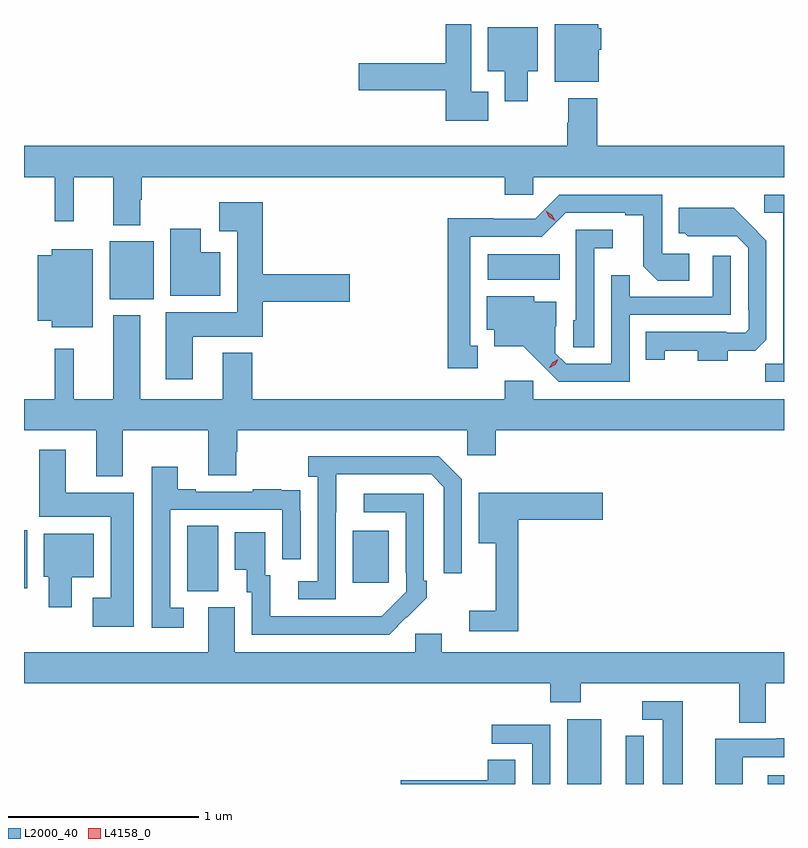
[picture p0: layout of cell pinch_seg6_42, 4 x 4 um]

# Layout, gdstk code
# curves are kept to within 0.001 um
import gdstk
lib = gdstk.Library(unit=1e-6, precision=1e-09)
def R(c, l, rs):  # rectangles x0, y0, x1, y1
    for r in rs: c.add(gdstk.rectangle(r[:2], r[2:], *l))
def P(c, l, *ps):  # polygons
    for p in ps: c.add(gdstk.Polygon(p, *l))
L2000_40 = (2000, 40)
L4158_0 = (4158, 0)

pinch_seg6_42 = lib.new_cell('pinch_seg6_42')
R(pinch_seg6_42, L2000_40, [(888.155,989.43,888.334,989.77), (889.211,989.43,889.296,989.476), (886.154,990.445,886.318,990.788), (885.296,990.461,885.313,990.766), (887.027,990.489,887.215,990.763), (885.746,991.982,885.979,992.287), (887.736,992.084,888.116,992.218)])
P(pinch_seg6_42, L2000_40, [(888.322,993.294),(888.334,993.294),(888.334,993.408),(888.318,993.408),(888.318,993.43),(888.089,993.43),(888.089,993.125),(888.322,993.125)],
  [(887.74,993.073),(887.65,993.073),(887.65,993.43),(887.516,993.43),(887.516,993.224),(887.058,993.224),(887.058,993.082),(887.516,993.082),(887.516,992.921),(887.74,992.921)],
  [(887.947,993.182),(888.001,993.182),(888.001,993.412),(887.738,993.412),(887.738,993.182),(887.825,993.182),(887.825,993.024),(887.947,993.024)],
  [(885.907,992.504),(885.915,992.504),(885.915,992.624),(887.825,992.624),(887.825,992.531),(887.976,992.531),(887.976,992.624),(889.296,992.624),(889.296,992.788),(888.314,992.788),(888.314,993.04),(888.161,993.04),(888.161,992.909),(888.154,992.909),(888.154,992.788),(885.296,992.788),(885.296,992.624),(885.458,992.624),(885.458,992.391),(885.557,992.391),(885.557,992.624),(885.767,992.624),(885.767,992.372),(885.907,992.372)],
  [(887.683,991.737),(887.644,991.737),(887.644,992.31),(888.021,992.31),(888.147,992.436),(888.461,992.436),(888.461,992.424),(888.555,992.424),(888.555,992.156),(888.631,992.08),(888.796,992.08),(888.796,992.22),(888.654,992.22),(888.654,992.532),(888.114,992.532),(887.988,992.406),(887.766,992.406),(887.766,992.408),(887.526,992.408),(887.526,991.617),(887.683,991.617)],
  [(889.296,992.532),(889.191,992.532),(889.191,992.436),(889.293,992.436),(889.293,991.643),(889.198,991.643),(889.198,991.548),(889.296,991.548)],
  [(886.183,991.784),(886.553,991.784),(886.553,991.967),(887.011,991.967),(887.011,992.114),(886.553,992.114),(886.553,992.491),(886.323,992.491),(886.323,992.339),(886.418,992.339),(886.418,991.912),(886.043,991.912),(886.043,991.56),(886.183,991.56)],
  [(889,991.709),(889.144,991.709),(889.203,991.768),(889.203,992.29),(889.031,992.464),(888.743,992.464),(888.743,992.328),(888.774,992.328),(888.79,992.312),(889.047,992.313),(889.107,992.253),(889.107,991.924),(889.11,991.924),(889.11,991.824),(889.092,991.806),(888.992,991.806),(888.992,991.809),(888.568,991.809),(888.568,991.662),(888.669,991.662),(888.669,991.711),(888.842,991.711),(888.842,991.658),(889,991.658)],
  [(886.33,992.23),(886.225,992.23),(886.225,992.353),(886.067,992.353),(886.067,992),(886.33,992)],
  [(888.297,992.249),(888.394,992.249),(888.394,992.346),(888.201,992.346),(888.201,991.872),(888.186,991.872),(888.186,991.729),(888.297,991.729)],
  [(885.658,992.245),(885.443,992.245),(885.443,992.212),(885.368,992.212),(885.368,991.868),(885.443,991.868),(885.443,991.835),(885.658,991.835)],
  [(888.483,991.899),(889.017,991.899),(889.017,992.209),(888.921,992.209),(888.921,991.995),(888.485,991.995),(888.485,992.108),(888.387,992.108),(888.387,991.641),(888.15,991.641),(888.093,991.698),(888.093,991.84),(888.097,991.84),(888.097,991.969),(887.982,991.969),(887.982,991.996),(887.732,991.996),(887.732,991.82),(887.771,991.82),(887.771,991.733),(887.923,991.733),(888.11,991.548),(888.483,991.548)],
  [(886.496,991.699),(886.343,991.699),(886.343,991.456),(885.907,991.456),(885.907,991.897),(885.767,991.897),(885.767,991.456),(885.557,991.456),(885.557,991.72),(885.457,991.72),(885.457,991.456),(885.296,991.456),(885.296,991.292),(885.677,991.292),(885.677,991.049),(885.817,991.049),(885.817,991.292),(886.265,991.292),(886.265,991.054),(886.413,991.054),(886.413,991.179),(886.418,991.179),(886.418,991.292),(887.628,991.292),(887.628,991.161),(887.78,991.161),(887.78,991.292),(889.296,991.292),(889.296,991.456),(887.976,991.456),(887.976,991.552),(887.825,991.552),(887.825,991.456),(886.496,991.456)],
  [(885.874,990.964),(885.517,990.964),(885.517,991.189),(885.377,991.189),(885.377,990.836),(885.752,990.836),(885.752,990.409),(885.657,990.409),(885.657,990.257),(885.874,990.257)],
  [(886.938,990.859),(886.939,991.059),(887.439,991.059),(887.505,990.993),(887.505,990.54),(887.601,990.54),(887.601,991.035),(887.48,991.156),(886.791,991.156),(886.791,991.046),(886.842,991.046),(886.842,990.498),(886.74,990.498),(886.74,990.402),(886.938,990.402)],
  [(886.138,990.357),(886.065,990.357),(886.065,990.873),(886.656,990.873),(886.656,990.612),(886.752,990.612),(886.752,990.866),(886.751,990.866),(886.751,990.975),(886.649,990.975),(886.649,990.982),(886.501,990.982),(886.501,990.969),(886.201,990.969),(886.201,990.982),(886.105,990.982),(886.105,991.099),(885.969,991.099),(885.969,990.252),(886.138,990.252)],
  [(887.897,990.821),(888.343,990.821),(888.343,990.963),(887.69,990.963),(887.69,990.698),(887.78,990.698),(887.78,990.343),(887.64,990.343),(887.64,990.234),(887.897,990.234)],
  [(887.309,990.307),(887.31,990.306),(887.415,990.411),(887.415,990.499),(887.4,990.499),(887.4,990.957),(887.085,990.957),(887.085,990.861),(887.304,990.861),(887.304,990.541),(887.307,990.541),(887.307,990.441),(887.179,990.313),(886.591,990.312),(886.591,990.528),(886.567,990.528),(886.567,990.754),(886.406,990.754),(886.406,990.557),(886.469,990.557),(886.469,990.438),(886.494,990.438),(886.494,990.216),(887.218,990.216)],
  [(885.547,990.518),(885.664,990.518),(885.664,990.748),(885.401,990.748),(885.401,990.522),(885.425,990.522),(885.425,990.36),(885.547,990.36)],
  [(889.201,989.96),(889.296,989.96),(889.296,990.124),(887.494,990.124),(887.494,990.222),(887.355,990.222),(887.355,990.124),(886.405,990.124),(886.405,990.36),(886.265,990.36),(886.265,990.124),(885.296,990.124),(885.296,989.96),(888.065,989.96),(888.065,989.861),(888.225,989.861),(888.225,989.96),(889.061,989.96),(889.061,989.752),(889.201,989.752)],
  [(888.763,989.865),(888.549,989.865),(888.549,989.769),(888.659,989.769),(888.659,989.43),(888.763,989.43)],
  [(888.066,989.742),(887.757,989.742),(887.757,989.643),(887.97,989.643),(887.97,989.43),(888.066,989.43)],
  [(888.558,989.684),(888.462,989.684),(888.462,989.53),(888.464,989.53),(888.464,989.43),(888.558,989.43)],
  [(889.08,989.571),(889.296,989.571),(889.296,989.671),(889.259,989.671),(889.259,989.667),(888.935,989.667),(888.935,989.43),(889.08,989.43)],
  [(887.881,989.558),(887.738,989.558),(887.738,989.45),(887.28,989.45),(887.28,989.43),(887.881,989.43)])
P(pinch_seg6_42, L4158_0, [(888.061,991.62),(888.061,991.62),(888.078,991.65),(888.108,991.666),(888.108,991.666),(888.108,991.666),(888.092,991.636),(888.062,991.62)],
  [(888.091,992.394),(888.06,992.413),(888.042,992.446),(888.042,992.446),(888.042,992.446),(888.074,992.427),(888.091,992.394),(888.091,992.394)])

lib.write_gds('pinch_seg6_42.gds')
